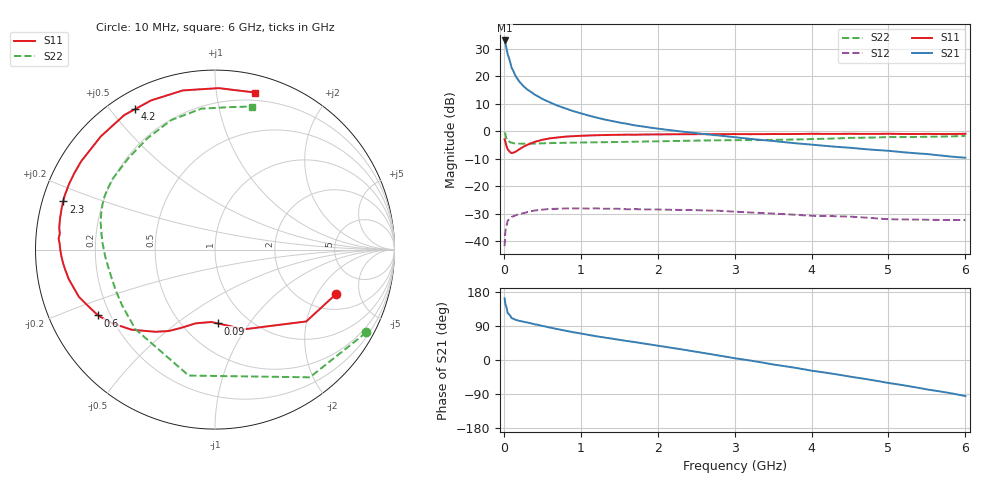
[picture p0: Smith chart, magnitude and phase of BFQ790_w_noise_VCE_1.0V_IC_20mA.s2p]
! (c) 2015  Infineon Technologies AG, Munich
! Infineon Technologies  Discrete & RF Semiconductors
! BFQ790
! VCE =  1.0 V,  IC =  20 mA
! Common Emitter S-Parameters:  May 2015
# GHz  S  MA  R  50
!  f  S11  S21  S12  S22
! GHz  MAG  ANG  MAG  ANG  MAG  ANG  MAG  ANG
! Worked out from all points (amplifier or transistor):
!   77 points, 10 MHz to 6 GHz, reference 50 ohm
!   highest |S21| = 33.0 dB at 10 MHz (marker M1)
!   |S21| within 3 dB of that: start of sweep to 35.12 MHz
!   unconditionally stable (mu >= 1): 1.682 GHz to 1.756 GHz; 1.862 GHz to end of sweep
!   at 130 MHz: K = 0.68, MSG = 26.2 dB, |S12| = -30.8 dB
!   at 2.2 GHz: K = 1.05, MAG = 13.0 dB, |S12| = -28.5 dB
!   at 6 GHz: K = 3.03, MAG = 3.6 dB, |S12| = -32.3 dB
!   lowest NFmin = 2.10 dB at 900 MHz
!   S11 on the Smith chart (normalised r, x): 10 MHz: 2.86, -2.94; 90 MHz: 0.73, -0.72; 600 MHz: 0.15, -0.26; 2.3 GHz: 0.06, +0.15; 4.2 GHz: 0.07, +0.58; 6 GHz: 0.13, +1.28
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0.01  0.7167 -20.4  44.92 162.7  0.0082 70.0  0.9608 -28.7
0.02  0.6472 -38.2  39.97 147.7  0.0153 59.0  0.8864 -53.4
0.05  0.4731 -69.8  25.16 123.6  0.0239 34.1  0.7169 -101.8
0.09  0.4118 -87.7  16.52 114.5  0.0269 23.6  0.6266 -127.8
0.1  0.4039 -92.9  14.47 110.6  0.0278 21.4  0.6271 -135.0
0.15  0.425 -104.8  10.26 106.2  0.0297 19.4  0.6038 -149.0
0.2  0.4719 -112.9  8.089 103.3  0.0314 17.3  0.5981 -156.6
0.25  0.5217 -119.6  6.757 101.2  0.0324 14.7  0.5965 -161.4
0.3  0.5653 -125.9  5.831 99.0  0.034 12.4  0.5973 -164.9
0.4  0.6453 -136.3  4.672 94.4  0.0365 8.8  0.6017 -169.8
0.5  0.7031 -144.1  3.901 90.0  0.0378 4.7  0.6063 -173.1
0.6  0.7477 -150.6  3.358 85.7  0.039 2.0  0.612 -175.9
0.8  0.8028 -160.9  2.612 77.4  0.0398 -5.0  0.6202 180.0
1.1  0.8416 -172.2  1.944 66.3  0.0396 -12.1  0.6302 175.4
1.5  0.866 177.9  1.451 53.3  0.0392 -21.0  0.6414 170.7
2.1  0.8825 166.5  1.078 34.8  0.0378 -32.3  0.6638 162.9
2.3  0.8871 162.4  0.998 28.4  0.0374 -36.4  0.6717 159.6
3.1  0.891 144.3  0.757 1.8  0.0342 -52.0  0.6926 142.8
4.1  0.9016 121.8  0.558 -31.0  0.0291 -64.2  0.7302 118.5
4.2  0.9003 119.7  0.542 -34.0  0.0289 -65.0  0.736 116.0
5.1  0.9003 98.9  0.43 -63.6  0.0252 -74.6  0.7883 93.2
6  0.9034 75.6  0.332 -95.1  0.0244 -81.0  0.8238 75.4
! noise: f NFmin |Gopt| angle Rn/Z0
0.45  2.24  0.33  90  0.34
0.9  2.1  0.48  148  0.15
1.5  2.45  0.66  178  0.07
1.8  2.81  0.7  -175  0.07
2.6  3.89  0.76  -156  0.23
3.5  4.75  0.88  -138  0.78
